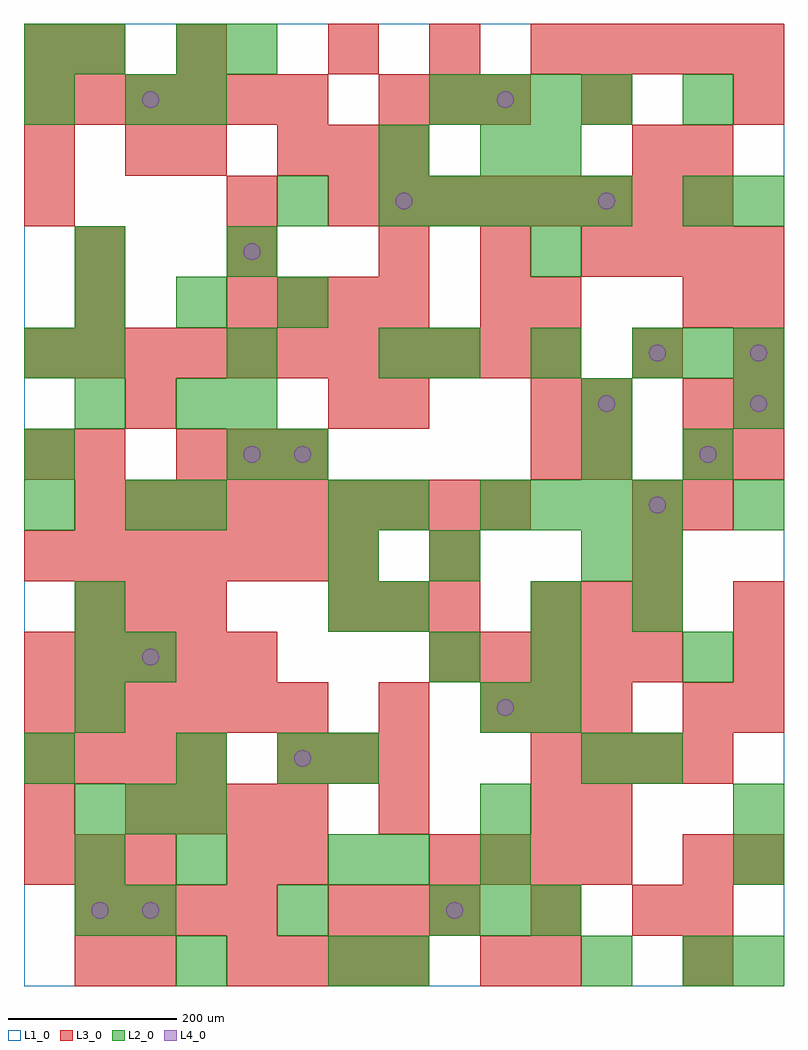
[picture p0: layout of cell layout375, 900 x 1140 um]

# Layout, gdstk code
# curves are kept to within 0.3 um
import gdstk
lib = gdstk.Library(unit=1e-6, precision=1e-09)
def R(c, l, rs):  # rectangles x0, y0, x1, y1
    for r in rs: c.add(gdstk.rectangle(r[:2], r[2:], *l))
def A(c, l, x, y, w, h, nx, ny, dx, dy):  # array of equal rectangles
    R(c, l, [(x+i*dx, y+j*dy, x+i*dx+w, y+j*dy+h) for i in range(nx) for j in range(ny)])
def P(c, l, *ps):  # polygons
    for p in ps: c.add(gdstk.Polygon(p, *l))
L1_0 = (1, 0)
L2_0 = (2, 0)
L3_0 = (3, 0)
L4_0 = (4, 0)

layout375 = lib.new_cell('layout375')
R(layout375, L1_0, [(0,0,900,1140)])
A(layout375, L2_0, 180, 0, 60, 60, 1, 3, 0, 120)
A(layout375, L2_0, 360, 0, 60, 60, 1, 3, 0, 120)
A(layout375, L2_0, 660, 0, 60, 60, 1, 3, 0, 240)
A(layout375, L2_0, 120, 60, 60, 60, 3, 1, 180, 0)
A(layout375, L2_0, 540, 60, 60, 60, 1, 3, 0, 60)
A(layout375, L2_0, 60, 180, 60, 60, 3, 1, 60, 0)
A(layout375, L2_0, 60, 300, 60, 60, 1, 3, 0, 60)
A(layout375, L2_0, 600, 300, 60, 60, 1, 3, 0, 60)
A(layout375, L2_0, 360, 420, 60, 60, 1, 3, 0, 60)
A(layout375, L2_0, 540, 540, 60, 60, 4, 1, 60, 0)
A(layout375, L2_0, 60, 720, 60, 60, 3, 1, 180, 0)
A(layout375, L2_0, 480, 720, 60, 60, 3, 1, 120, 0)
A(layout375, L2_0, 60, 780, 60, 60, 3, 1, 120, 0)
A(layout375, L2_0, 420, 900, 60, 60, 5, 1, 60, 0)
A(layout375, L2_0, 480, 1020, 60, 60, 4, 1, 60, 0)
R(layout375, L2_0, [(420,0,480,60), (780,0,840,60), (840,0,900,60), (60,60,120,120), (600,60,660,120), (60,120,120,180), (420,120,480,180), (840,120,900,180), (840,180,900,240), (0,240,60,300), (300,240,360,300), (720,240,780,300), (540,300,600,360), (120,360,180,420), (480,360,540,420), (780,360,840,420), (420,420,480,480), (720,420,780,480), (480,480,540,540), (720,480,780,540), (0,540,60,600), (120,540,180,600), (180,540,240,600), (420,540,480,600), (840,540,900,600), (0,600,60,660), (240,600,300,660), (300,600,360,660), (660,600,720,660), (780,600,840,660), (60,660,120,720), (180,660,240,720), (240,660,300,720), (660,660,720,720), (840,660,900,720), (0,720,60,780), (780,720,840,780), (840,720,900,780), (60,840,120,900), (240,840,300,900), (600,840,660,900), (300,900,360,960), (780,900,840,960), (840,900,900,960), (420,960,480,1020), (540,960,600,1020), (600,960,660,1020), (0,1020,60,1080), (120,1020,180,1080), (180,1020,240,1080), (780,1020,840,1080), (0,1080,60,1140), (60,1080,120,1140), (180,1080,240,1140), (240,1080,300,1140)])
A(layout375, L3_0, 240, 0, 60, 60, 4, 2, 60, 780)
A(layout375, L3_0, 780, 0, 60, 60, 1, 3, 0, 60)
A(layout375, L3_0, 60, 60, 60, 60, 4, 1, 60, 0)
A(layout375, L3_0, 360, 60, 60, 60, 3, 2, 60, 360)
A(layout375, L3_0, 0, 120, 60, 60, 3, 1, 60, 0)
A(layout375, L3_0, 480, 120, 60, 60, 4, 1, 60, 0)
A(layout375, L3_0, 120, 180, 60, 60, 4, 1, 60, 0)
A(layout375, L3_0, 0, 240, 60, 60, 4, 1, 60, 0)
A(layout375, L3_0, 300, 240, 60, 60, 3, 2, 60, 720)
A(layout375, L3_0, 600, 240, 60, 60, 4, 1, 60, 0)
A(layout375, L3_0, 0, 300, 60, 60, 6, 2, 60, 720)
A(layout375, L3_0, 540, 300, 60, 60, 3, 1, 60, 0)
A(layout375, L3_0, 840, 300, 60, 60, 1, 3, 0, 60)
A(layout375, L3_0, 0, 360, 60, 60, 5, 1, 60, 0)
A(layout375, L3_0, 480, 360, 60, 60, 5, 1, 60, 0)
A(layout375, L3_0, 60, 420, 60, 60, 3, 1, 60, 0)
A(layout375, L3_0, 600, 420, 60, 60, 3, 1, 60, 0)
A(layout375, L3_0, 0, 480, 60, 60, 7, 1, 60, 0)
A(layout375, L3_0, 60, 540, 60, 60, 9, 1, 60, 0)
A(layout375, L3_0, 780, 540, 60, 60, 1, 3, 0, 60)
A(layout375, L3_0, 180, 600, 60, 60, 3, 1, 60, 0)
A(layout375, L3_0, 840, 600, 60, 60, 1, 4, 0, 60)
A(layout375, L3_0, 0, 720, 60, 60, 11, 1, 60, 0)
A(layout375, L3_0, 60, 840, 60, 60, 3, 1, 180, 0)
A(layout375, L3_0, 660, 840, 60, 60, 4, 2, 60, 240)
A(layout375, L3_0, 360, 900, 60, 60, 8, 1, 60, 0)
A(layout375, L3_0, 420, 1020, 60, 60, 3, 1, 60, 0)
A(layout375, L3_0, 360, 1080, 60, 60, 3, 1, 120, 0)
R(layout375, L3_0, [(60,0,120,60), (120,0,180,60), (540,0,600,60), (600,0,660,60), (600,60,660,120), (720,60,780,120), (240,120,300,180), (300,120,360,180), (840,120,900,180), (0,180,60,240), (420,180,480,240), (600,180,660,240), (660,180,720,240), (420,300,480,360), (780,300,840,360), (480,480,540,540), (720,480,780,540), (720,540,780,600), (0,600,60,660), (60,600,120,660), (600,600,660,660), (660,600,720,660), (120,660,180,720), (360,660,420,720), (420,660,480,720), (600,660,660,720), (660,660,720,720), (720,720,780,780), (60,780,120,840), (540,780,600,840), (600,780,660,840), (780,780,840,840), (540,840,600,900), (0,900,60,960), (240,900,300,960), (0,960,60,1020), (120,960,180,1020), (180,960,240,1020), (720,960,780,1020), (780,960,840,1020), (660,1020,720,1080), (840,1020,900,1080), (0,1080,60,1140), (60,1080,120,1140), (180,1080,240,1140)])
P(layout375, L4_0, [(100,90),(99.239,93.827),(97.071,97.071),(93.827,99.239),(90,100),(86.173,99.239),(82.929,97.071),(80.761,93.827),(80,90),(80.761,86.173),(82.929,82.929),(86.173,80.761),(90,80),(93.827,80.761),(97.071,82.929),(99.239,86.173)],
  [(160,90),(159.239,93.827),(157.071,97.071),(153.827,99.239),(150,100),(146.173,99.239),(142.929,97.071),(140.761,93.827),(140,90),(140.761,86.173),(142.929,82.929),(146.173,80.761),(150,80),(153.827,80.761),(157.071,82.929),(159.239,86.173)],
  [(160,390),(159.239,393.827),(157.071,397.071),(153.827,399.239),(150,400),(146.173,399.239),(142.929,397.071),(140.761,393.827),(140,390),(140.761,386.173),(142.929,382.929),(146.173,380.761),(150,380),(153.827,380.761),(157.071,382.929),(159.239,386.173)],
  [(160,1050),(159.239,1053.827),(157.071,1057.071),(153.827,1059.239),(150,1060),(146.173,1059.239),(142.929,1057.071),(140.761,1053.827),(140,1050),(140.761,1046.173),(142.929,1042.929),(146.173,1040.761),(150,1040),(153.827,1040.761),(157.071,1042.929),(159.239,1046.173)],
  [(280,630),(279.239,633.827),(277.071,637.071),(273.827,639.239),(270,640),(266.173,639.239),(262.929,637.071),(260.761,633.827),(260,630),(260.761,626.173),(262.929,622.929),(266.173,620.761),(270,620),(273.827,620.761),(277.071,622.929),(279.239,626.173)],
  [(280,870),(279.239,873.827),(277.071,877.071),(273.827,879.239),(270,880),(266.173,879.239),(262.929,877.071),(260.761,873.827),(260,870),(260.761,866.173),(262.929,862.929),(266.173,860.761),(270,860),(273.827,860.761),(277.071,862.929),(279.239,866.173)],
  [(340,270),(339.239,273.827),(337.071,277.071),(333.827,279.239),(330,280),(326.173,279.239),(322.929,277.071),(320.761,273.827),(320,270),(320.761,266.173),(322.929,262.929),(326.173,260.761),(330,260),(333.827,260.761),(337.071,262.929),(339.239,266.173)],
  [(340,630),(339.239,633.827),(337.071,637.071),(333.827,639.239),(330,640),(326.173,639.239),(322.929,637.071),(320.761,633.827),(320,630),(320.761,626.173),(322.929,622.929),(326.173,620.761),(330,620),(333.827,620.761),(337.071,622.929),(339.239,626.173)],
  [(460,930),(459.239,933.827),(457.071,937.071),(453.827,939.239),(450,940),(446.173,939.239),(442.929,937.071),(440.761,933.827),(440,930),(440.761,926.173),(442.929,922.929),(446.173,920.761),(450,920),(453.827,920.761),(457.071,922.929),(459.239,926.173)],
  [(520,90),(519.239,93.827),(517.071,97.071),(513.827,99.239),(510,100),(506.173,99.239),(502.929,97.071),(500.761,93.827),(500,90),(500.761,86.173),(502.929,82.929),(506.173,80.761),(510,80),(513.827,80.761),(517.071,82.929),(519.239,86.173)],
  [(580,330),(579.239,333.827),(577.071,337.071),(573.827,339.239),(570,340),(566.173,339.239),(562.929,337.071),(560.761,333.827),(560,330),(560.761,326.173),(562.929,322.929),(566.173,320.761),(570,320),(573.827,320.761),(577.071,322.929),(579.239,326.173)],
  [(580,1050),(579.239,1053.827),(577.071,1057.071),(573.827,1059.239),(570,1060),(566.173,1059.239),(562.929,1057.071),(560.761,1053.827),(560,1050),(560.761,1046.173),(562.929,1042.929),(566.173,1040.761),(570,1040),(573.827,1040.761),(577.071,1042.929),(579.239,1046.173)],
  [(700,690),(699.239,693.827),(697.071,697.071),(693.827,699.239),(690,700),(686.173,699.239),(682.929,697.071),(680.761,693.827),(680,690),(680.761,686.173),(682.929,682.929),(686.173,680.761),(690,680),(693.827,680.761),(697.071,682.929),(699.239,686.173)],
  [(700,930),(699.239,933.827),(697.071,937.071),(693.827,939.239),(690,940),(686.173,939.239),(682.929,937.071),(680.761,933.827),(680,930),(680.761,926.173),(682.929,922.929),(686.173,920.761),(690,920),(693.827,920.761),(697.071,922.929),(699.239,926.173)],
  [(760,570),(759.239,573.827),(757.071,577.071),(753.827,579.239),(750,580),(746.173,579.239),(742.929,577.071),(740.761,573.827),(740,570),(740.761,566.173),(742.929,562.929),(746.173,560.761),(750,560),(753.827,560.761),(757.071,562.929),(759.239,566.173)],
  [(760,750),(759.239,753.827),(757.071,757.071),(753.827,759.239),(750,760),(746.173,759.239),(742.929,757.071),(740.761,753.827),(740,750),(740.761,746.173),(742.929,742.929),(746.173,740.761),(750,740),(753.827,740.761),(757.071,742.929),(759.239,746.173)],
  [(820,630),(819.239,633.827),(817.071,637.071),(813.827,639.239),(810,640),(806.173,639.239),(802.929,637.071),(800.761,633.827),(800,630),(800.761,626.173),(802.929,622.929),(806.173,620.761),(810,620),(813.827,620.761),(817.071,622.929),(819.239,626.173)],
  [(880,690),(879.239,693.827),(877.071,697.071),(873.827,699.239),(870,700),(866.173,699.239),(862.929,697.071),(860.761,693.827),(860,690),(860.761,686.173),(862.929,682.929),(866.173,680.761),(870,680),(873.827,680.761),(877.071,682.929),(879.239,686.173)],
  [(880,750),(879.239,753.827),(877.071,757.071),(873.827,759.239),(870,760),(866.173,759.239),(862.929,757.071),(860.761,753.827),(860,750),(860.761,746.173),(862.929,742.929),(866.173,740.761),(870,740),(873.827,740.761),(877.071,742.929),(879.239,746.173)])

lib.write_gds('layout375.gds')
